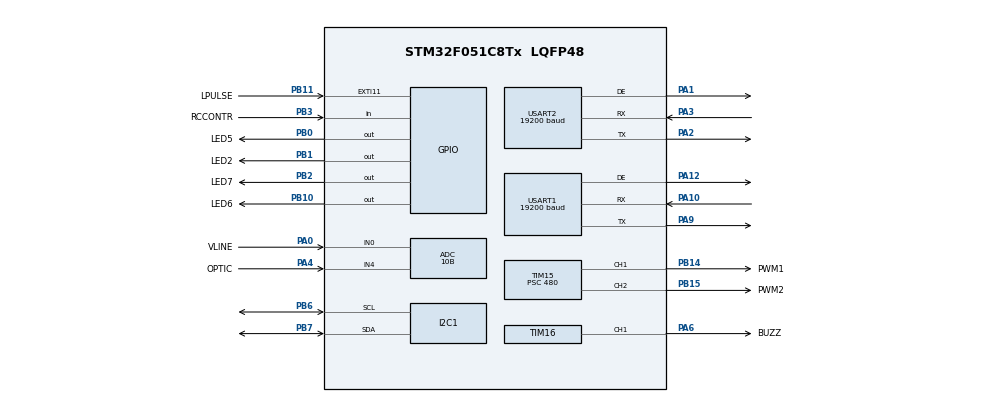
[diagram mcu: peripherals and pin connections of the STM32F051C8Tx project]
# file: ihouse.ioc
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ADC.Resolution=ADC_RESOLUTION_10B
ADC.SamplingTime=ADC_SAMPLETIME_55CYCLES_5
Dma.Request0=USART2_TX
Dma.USART2_TX.0.Direction=DMA_MEMORY_TO_PERIPH
Dma.USART2_TX.0.Instance=DMA1_Channel4
Dma.USART2_TX.0.MemDataAlignment=DMA_MDATAALIGN_BYTE
Dma.USART2_TX.0.MemInc=DMA_MINC_ENABLE
Dma.USART2_TX.0.Mode=DMA_NORMAL
Dma.USART2_TX.0.PeriphDataAlignment=DMA_PDATAALIGN_BYTE
Dma.USART2_TX.0.PeriphInc=DMA_PINC_DISABLE
Dma.USART2_TX.0.Priority=DMA_PRIORITY_LOW
I2C1.Analog_Filter=I2C_ANALOGFILTER_DISABLE
I2C1.Timing=0x00101D2D
Mcu.Family=STM32F0
Mcu.Name=STM32F051C8Tx
Mcu.Package=LQFP48
NVIC.DMA1_Channel4_5_IRQn=true\:0\:0\:false\:false\:true\:false
NVIC.TIM6_DAC_IRQn=true\:0\:0\:false\:false\:true\:true
NVIC.USART1_IRQn=true\:0\:0\:false\:false\:true\:true
NVIC.USART2_IRQn=true\:0\:0\:false\:false\:true\:true
PA0.GPIO_Label=VLINE
PA0.Mode=IN0
PA0.Signal=ADC_IN0
PA1.Mode=Hardware Flow Control (RS485)
PA1.Signal=USART2_DE
PA10.GPIO_PuPd=GPIO_PULLUP
PA10.Mode=Asynchronous
PA10.Signal=USART1_RX
PA12.Mode=Hardware Flow Control (RS485)
PA12.Signal=USART1_DE
PA13.Mode=Serial_Wire
PA13.Signal=SYS_SWDIO
PA14.Mode=Serial_Wire
PA14.Signal=SYS_SWCLK
PA2.Mode=Asynchronous
PA2.Signal=USART2_TX
PA3.GPIO_PuPd=GPIO_PULLUP
PA3.Mode=Asynchronous
PA3.Signal=USART2_RX
PA4.GPIO_Label=OPTIC
PA4.Mode=IN4
PA4.Signal=ADC_IN4
PA6.GPIO_Label=BUZZ
PA6.Signal=S_TIM16_CH1
PA9.Mode=Asynchronous
PA9.Signal=USART1_TX
PB0.GPIO_Label=LED5
PB0.Signal=GPIO_Output
PB1.GPIO_Label=LED2
PB1.Signal=GPIO_Output
PB10.GPIO_Label=LED6
PB10.Signal=GPIO_Output
PB11.GPIO_Label=LPULSE
PB11.Signal=GPXTI11
PB14.GPIO_Label=PWM1
PB14.Signal=S_TIM15_CH1
PB15.GPIO_Label=PWM2
PB15.Signal=S_TIM15_CH2
PB2.GPIO_Label=LED7
PB2.Signal=GPIO_Output
PB3.GPIO_Label=RCCONTR
PB3.Signal=GPIO_Input
PB6.Mode=I2C
PB6.Signal=I2C1_SCL
PB7.Mode=I2C
PB7.Signal=I2C1_SDA
PC14-OSC32_IN.Mode=LSE-External-Oscillator
PC14-OSC32_IN.Signal=RCC_OSC32_IN
PC15-OSC32_OUT.Mode=LSE-External-Oscillator
PC15-OSC32_OUT.Signal=RCC_OSC32_OUT
PF0-OSC_IN.Mode=HSE-External-Oscillator
PF0-OSC_IN.Signal=RCC_OSC_IN
PF1-OSC_OUT.Mode=HSE-External-Oscillator
PF1-OSC_OUT.Signal=RCC_OSC_OUT
ProjectManager.HeapSize=0x200
ProjectManager.StackSize=0x400
ProjectManager.TargetToolchain=Other Toolchains (GPDSC)
RCC.AHBFreq_Value=8000000
RCC.APB1Freq_Value=8000000
RCC.APB1TimFreq_Value=8000000
RCC.FLatency=FLASH_LATENCY_0
RCC.HCLKFreq_Value=8000000
RCC.HSI14CalibrationValue=16
RCC.PLLMUL=RCC_PLL_MUL6
RCC.PLLSourceVirtual=RCC_PLLSOURCE_HSE
RCC.RTCClockSelection=RCC_RTCCLKSOURCE_LSE
RCC.SYSCLKFreq_VALUE=8000000
RCC.SYSCLKSource=RCC_SYSCLKSOURCE_HSE
RTC.Format=RTC_FORMAT_BCD
SH.S_TIM15_CH1.0=TIM15_CH1,PWM Generation1 CH1
SH.S_TIM15_CH2.0=TIM15_CH2,PWM Generation2 CH2
SH.S_TIM16_CH1.0=TIM16_CH1,PWM Generation1 CH1
TIM15.Channel-PWM\ Generation1\ CH1=TIM_CHANNEL_1
TIM15.Channel-PWM\ Generation2\ CH2=TIM_CHANNEL_2
TIM15.Period=100
TIM15.Prescaler=480
TIM15.Pulse-PWM\ Generation1\ CH1=50
TIM15.Pulse-PWM\ Generation2\ CH2=50
TIM16.Channel=TIM_CHANNEL_1
TIM16.Period=100
TIM16.Prescaler=480
TIM16.Pulse=50
TIM6.Period=1000
USART1.BaudRate=19200
USART1.VirtualMode-Asynchronous=VM_ASYNC
USART1.VirtualMode-Hardware\ Flow\ Control\ (RS485)=VM_ASYNC
USART2.BaudRate=19200
USART2.VirtualMode-Asynchronous=VM_ASYNC
USART2.VirtualMode-Hardware\ Flow\ Control\ (RS485)=VM_ASYNC
VP_ADC_TempSens_Input.Mode=IN-TempSens
VP_ADC_Vref_Input.Mode=IN-Vrefint
VP_RTC_VS_RTC_Activate.Mode=RTC_Enabled
VP_RTC_VS_RTC_Calendar.Mode=RTC_Calendar
VP_TIM16_VS_ClockSourceINT.Mode=Enable_Timer
VP_TIM6_VS_ClockSourceINT.Mode=Enable_Timer
VP_TIM6_VS_OPM.Mode=OPM_bit
board=unicon

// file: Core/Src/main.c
/* USER CODE BEGIN Header */
/**
  ******************************************************************************
  * @file           : main.c
  * @brief          : Main program body
  ******************************************************************************
  ** This notice applies to any and all portions of this file
  * that are not between comment pairs USER CODE BEGIN and
  * USER CODE END. Other portions of this file, whether
  * inserted by the user or by software development tools
  * are owned by their respective copyright owners.
  *
  * COPYRIGHT(c) 2019 STMicroelectronics
  *
  * Redistribution and use in source and binary forms, with or without modification,
  * are permitted provided that the following conditions are met:
  *   1. Redistributions of source code must retain the above copyright notice,
  *      this list of conditions and the following disclaimer.
  *   2. Redistributions in binary form must reproduce the above copyright notice,
  *      this list of conditions and the following disclaimer in the documentation
  *      and/or other materials provided with the distribution.
  *   3. Neither the name of STMicroelectronics nor the names of its contributors
  *      may be used to endorse or promote products derived from this software
  *      without specific prior written permission.
  *
  * THIS SOFTWARE IS PROVIDED BY THE COPYRIGHT HOLDERS AND CONTRIBUTORS "AS IS"
  * AND ANY EXPRESS OR IMPLIED WARRANTIES, INCLUDING, BUT NOT LIMITED TO, THE
  * IMPLIED WARRANTIES OF MERCHANTABILITY AND FITNESS FOR A PARTICULAR PURPOSE ARE
  * DISCLAIMED. IN NO EVENT SHALL THE COPYRIGHT HOLDER OR CONTRIBUTORS BE LIABLE
  * FOR ANY DIRECT, INDIRECT, INCIDENTAL, SPECIAL, EXEMPLARY, OR CONSEQUENTIAL
  * DAMAGES (INCLUDING, BUT NOT LIMITED TO, PROCUREMENT OF SUBSTITUTE GOODS OR
  * SERVICES; LOSS OF USE, DATA, OR PROFITS; OR BUSINESS INTERRUPTION) HOWEVER
  * CAUSED AND ON ANY THEORY OF LIABILITY, WHETHER IN CONTRACT, STRICT LIABILITY,
  * OR TORT (INCLUDING NEGLIGENCE OR OTHERWISE) ARISING IN ANY WAY OUT OF THE USE
  * OF THIS SOFTWARE, EVEN IF ADVISED OF THE POSSIBILITY OF SUCH DAMAGE.
  *
  ******************************************************************************
  */
/* USER CODE END Header */

#include "main.h"

/* USER CODE BEGIN Includes */
#include <stdio.h>
#include "unicon.h"
#include "nextion.h"
#include "pcf8574.h"
#include "pcf8523.h"
#include "mcp23017.h"
/* USER CODE END Includes */

/* USER CODE BEGIN PV */

MCP_Output_TypeDef OC1 = {MCP_GPIOB, PIN_4};
MCP_Output_TypeDef OC2 = {MCP_GPIOB, PIN_5};
MCP_Output_TypeDef OC3 = {MCP_GPIOB, PIN_6};
MCP_Output_TypeDef OC4 = {MCP_GPIOB, PIN_7};
MCP_Output_TypeDef OC5 = {MCP_GPIOB, PIN_0};
MCP_Output_TypeDef OC6 = {MCP_GPIOB, PIN_1};
MCP_Output_TypeDef OC7 = {MCP_GPIOB, PIN_2};
MCP_Output_TypeDef OC8 = {MCP_GPIOB, PIN_3};
MCP_Output_TypeDef OC9 = {MCP_GPIOA, PIN_1};
MCP_Output_TypeDef ACON = {MCP_GPIOA, PIN_0};
MCP_Output_TypeDef MA = {MCP_GPIOA, PIN_2};
MCP_Output_TypeDef MB = {MCP_GPIOA, PIN_3};
MCP_Output_TypeDef M1ENA = {MCP_GPIOA, PIN_4};
MCP_Output_TypeDef M2ENA = {MCP_GPIOA, PIN_5};
MCP_Output_TypeDef M3ENA = {MCP_GPIOA, PIN_6};
MCP_Output_TypeDef M4ENA = {MCP_GPIOA, PIN_7};

/* USER CODE END PV */

void SystemClock_Config(void);
static void MX_GPIO_Init(void);
static void MX_DMA_Init(void);
static void MX_I2C1_Init(void);
static void MX_USART1_UART_Init(void);
static void MX_TIM6_Init(void);
static void MX_ADC_Init(void);
static void MX_USART2_UART_Init(void);
static void MX_TIM16_Init(void);
static void MX_TIM15_Init(void);
static void MX_RTC_Init(void);

int main(void)
{
  /* USER CODE BEGIN 1 */

    static volatile uint32_t delay = 0;
    uint8_t i = 0;

#ifdef RELEASE
#warning "Protection is ON. Debug is OFF"
    FLASH_OBProgramInitTypeDef Optbyte;

    HAL_FLASHEx_OBGetConfig(&Optbyte);          // read out RDPLvL

    if(Optbyte.RDPLevel == RESET) {             // Lvl 0 = 0, Lvl 1,2 =1
        Optbyte.OptionType = OPTIONBYTE_RDP;    // select RDP optionbyte
        Optbyte.RDPLevel = OB_RDP_LEVEL_1;      // select RDP level 1

        HAL_FLASH_Unlock();                     // unlock Flash
        HAL_FLASH_OB_Unlock();                  // unlock Optionbytes

        HAL_FLASHEx_OBProgram(&Optbyte);        // set RDP=1

        HAL_FLASH_OB_Launch();                  // write OB to Flash and reset

        HAL_FLASH_OB_Lock();                    // Lock Optionbytes
        HAL_FLASH_Lock();                       // lock Flas
    }
#endif

  /* USER CODE END 1 */

  /* MCU Configuration--------------------------------------------------------*/

  /* Reset of all peripherals, Initializes the Flash interface and the Systick. */

  LL_APB1_GRP2_EnableClock(LL_APB1_GRP2_PERIPH_SYSCFG);
  LL_APB1_GRP1_EnableClock(LL_APB1_GRP1_PERIPH_PWR);

  /* System interrupt init*/

  /* Configure the system clock */
  SystemClock_Config();

  /* USER CODE BEGIN SysInit */
    SysTick_Config(SystemCoreClock/1000);
  /* USER CODE END SysInit */

  /* Initialize all configured peripherals */
  MX_GPIO_Init();
  MX_DMA_Init();
  MX_I2C1_Init();
  MX_USART1_UART_Init();
  MX_TIM6_Init();
  MX_ADC_Init();
  MX_USART2_UART_Init();
  MX_TIM16_Init();
  MX_TIM15_Init();
  MX_RTC_Init();
  /* USER CODE BEGIN 2 */

    LL_mDelay(10);

    UNI_Start();

    PCF8523_Init();
    MCP23017_Init();
    NextionInit();

    //BEEP();
    //LL_mDelay(10);
    //BEEP();
    //LL_mDelay(10);
    //BEEP();

  /* USER CODE END 2 */

  /* Infinite loop */
  /* USER CODE BEGIN WHILE */

#if defined(MODBUS_ENABLE)
    eMBInit( MB_RTU, port_config[SECONDARY_PORT].MbAddr, SECONDARY_PORT, port_config[SECONDARY_PORT].Baudrate, port_config[SECONDARY_PORT].Parity );
    eMBSetSlaveID( 123, TRUE, ucSlaveIdBuf, (MB_FUNC_OTHER_REP_SLAVEID_BUF - 4) );
    eMBEnable();
#endif

    while (1) {

        if(delay <= timestamp) {

            delay = timestamp + 500;

            PCF8523_GetDateTime();

            switch(Nextion.CurrentPageID) {

            case W_MAIN:

                if(TxState == USART_STATE_IDLE){

                    //i = sprintf( ptrPrimaryTxBuffer, "t0.txt=\"%02d.%02d.%02d   %02d:%02d\"", DateTime.year, DateTime.month, DateTime.day, DateTime.hour, DateTime.minute );
                    i = sprintf( ptrSecondaryTxBuffer, "t0.txt=\"MCU:%02d IN0:%1.2fV\"", (int)ADC_InternalRegisters.McuTemp.ConvertedValue, (float)AnalogInputs.ch0.mvolts/1000 );

                    *(ptrSecondaryTxBuffer + i++) = 0xFF;
                    *(ptrSecondaryTxBuffer + i++) = 0xFF;
                    *(ptrSecondaryTxBuffer + i) = 0xFF;

                    //USART_Send( NEXTION_PORT, ptrPrimaryTxBuffer, i+1 );
                    USART_Send_DMA(i+1);

                    TxState = USART_STATE_BUSY;
                }

                break;
            case W_VIRTUVE:

                LED2_ON();

                break;
            case W_KORIDORIUS:

                LED5_ON();

                break;
            case W_VONIAWC:

                LED6_ON();

                break;
            case W_PAPILDOMAI:

                LED7_ON();

                break;
            }

        }

        UNI_Process();

    /* USER CODE END WHILE */

    }
}

void SystemClock_Config(void)
{
  LL_FLASH_SetLatency(LL_FLASH_LATENCY_0);

  if(LL_FLASH_GetLatency() != LL_FLASH_LATENCY_0)
  {
  Error_Handler();
  }
  LL_RCC_HSE_Enable();

   /* Wait till HSE is ready */
  while(LL_RCC_HSE_IsReady() != 1)
  {

  }
  LL_RCC_HSI_Enable();

   /* Wait till HSI is ready */
  while(LL_RCC_HSI_IsReady() != 1)
  {

  }
  LL_RCC_HSI_SetCalibTrimming(16);
  LL_RCC_HSI14_Enable();

   /* Wait till HSI14 is ready */
  while(LL_RCC_HSI14_IsReady() != 1)
  {

  }
  LL_RCC_HSI14_SetCalibTrimming(16);
  LL_PWR_EnableBkUpAccess();
  LL_RCC_ForceBackupDomainReset();
  LL_RCC_ReleaseBackupDomainReset();
  LL_RCC_LSE_SetDriveCapability(LL_RCC_LSEDRIVE_HIGH);
  LL_RCC_LSE_Enable();

   /* Wait till LSE is ready */
  while(LL_RCC_LSE_IsReady() != 1)
  {

  }
  LL_RCC_SetRTCClockSource(LL_RCC_RTC_CLKSOURCE_LSE);
  LL_RCC_EnableRTC();
  LL_RCC_SetAHBPrescaler(LL_RCC_SYSCLK_DIV_1);
  LL_RCC_SetAPB1Prescaler(LL_RCC_APB1_DIV_1);
  LL_RCC_SetSysClkSource(LL_RCC_SYS_CLKSOURCE_HSE);

   /* Wait till System clock is ready */
  while(LL_RCC_GetSysClkSource() != LL_RCC_SYS_CLKSOURCE_STATUS_HSE)
  {

  }
  LL_Init1msTick(8000000);
  LL_SYSTICK_SetClkSource(LL_SYSTICK_CLKSOURCE_HCLK);
  LL_SetSystemCoreClock(8000000);
  LL_RCC_HSI14_EnableADCControl();
  LL_RCC_SetUSARTClockSource(LL_RCC_USART1_CLKSOURCE_PCLK1);
  LL_RCC_SetI2CClockSource(LL_RCC_I2C1_CLKSOURCE_HSI);
}

static void MX_ADC_Init(void)
{

  LL_ADC_InitTypeDef ADC_InitStruct = {0};
  LL_ADC_REG_InitTypeDef ADC_REG_InitStruct = {0};

  LL_GPIO_InitTypeDef GPIO_InitStruct = {0};

  /* Peripheral clock enable */
  LL_APB1_GRP2_EnableClock(LL_APB1_GRP2_PERIPH_ADC1);

  LL_AHB1_GRP1_EnableClock(LL_AHB1_GRP1_PERIPH_GPIOA);
  /**ADC GPIO Configuration
  PA0   ------> ADC_IN0
  PA4   ------> ADC_IN4
  */
  GPIO_InitStruct.Pin = VLINE_Pin;
  GPIO_InitStruct.Mode = LL_GPIO_MODE_ANALOG;
  GPIO_InitStruct.Pull = LL_GPIO_PULL_NO;
  LL_GPIO_Init(VLINE_GPIO_Port, &GPIO_InitStruct);

  GPIO_InitStruct.Pin = OPTIC_Pin;
  GPIO_InitStruct.Mode = LL_GPIO_MODE_ANALOG;
  GPIO_InitStruct.Pull = LL_GPIO_PULL_NO;
  LL_GPIO_Init(OPTIC_GPIO_Port, &GPIO_InitStruct);

  /**Configure Regular Channel
  */
  LL_ADC_REG_SetSequencerChAdd(ADC1, LL_ADC_CHANNEL_0);
  /**Configure Regular Channel
  */
  LL_ADC_REG_SetSequencerChAdd(ADC1, LL_ADC_CHANNEL_4);
  /**Configure Regular Channel
  */
  LL_ADC_REG_SetSequencerChAdd(ADC1, LL_ADC_CHANNEL_TEMPSENSOR);
  LL_ADC_SetCommonPathInternalCh(__LL_ADC_COMMON_INSTANCE(ADC1), LL_ADC_PATH_INTERNAL_TEMPSENSOR);
  /**Configure Regular Channel
  */
  LL_ADC_REG_SetSequencerChAdd(ADC1, LL_ADC_CHANNEL_VREFINT);
  LL_ADC_SetCommonPathInternalCh(__LL_ADC_COMMON_INSTANCE(ADC1), LL_ADC_PATH_INTERNAL_VREFINT);
  /**Configure the global features of the ADC (Clock, Resolution, Data Alignment and number of conversion)
  */
  ADC_InitStruct.Clock = LL_ADC_CLOCK_ASYNC;
  ADC_InitStruct.Resolution = LL_ADC_RESOLUTION_10B;
  ADC_InitStruct.DataAlignment = LL_ADC_DATA_ALIGN_RIGHT;
  ADC_InitStruct.LowPowerMode = LL_ADC_LP_MODE_NONE;
  LL_ADC_Init(ADC1, &ADC_InitStruct);
  ADC_REG_InitStruct.TriggerSource = LL_ADC_REG_TRIG_SOFTWARE;
  ADC_REG_InitStruct.SequencerDiscont = LL_ADC_REG_SEQ_DISCONT_DISABLE;
  ADC_REG_InitStruct.ContinuousMode = LL_ADC_REG_CONV_SINGLE;
  ADC_REG_InitStruct.DMATransfer = LL_ADC_REG_DMA_TRANSFER_LIMITED;
  ADC_REG_InitStruct.Overrun = LL_ADC_REG_OVR_DATA_PRESERVED;
  LL_ADC_REG_Init(ADC1, &ADC_REG_InitStruct);
  LL_ADC_REG_SetSequencerScanDirection(ADC1, LL_ADC_REG_SEQ_SCAN_DIR_FORWARD);
  LL_ADC_SetSamplingTimeCommonChannels(ADC1, LL_ADC_SAMPLINGTIME_55CYCLES_5);
  LL_ADC_DisableIT_EOC(ADC1);
  LL_ADC_DisableIT_EOS(ADC1);

}

static void MX_I2C1_Init(void)
{

  LL_I2C_InitTypeDef I2C_InitStruct = {0};

  LL_GPIO_InitTypeDef GPIO_InitStruct = {0};

  LL_AHB1_GRP1_EnableClock(LL_AHB1_GRP1_PERIPH_GPIOB);
  /**I2C1 GPIO Configuration
  PB6   ------> I2C1_SCL
  PB7   ------> I2C1_SDA
  */
  GPIO_InitStruct.Pin = LL_GPIO_PIN_6;
  GPIO_InitStruct.Mode = LL_GPIO_MODE_ALTERNATE;
  GPIO_InitStruct.Speed = LL_GPIO_SPEED_FREQ_HIGH;
  GPIO_InitStruct.OutputType = LL_GPIO_OUTPUT_OPENDRAIN;
  GPIO_InitStruct.Pull = LL_GPIO_PULL_UP;
  GPIO_InitStruct.Alternate = LL_GPIO_AF_1;
  LL_GPIO_Init(GPIOB, &GPIO_InitStruct);

  GPIO_InitStruct.Pin = LL_GPIO_PIN_7;
  GPIO_InitStruct.Mode = LL_GPIO_MODE_ALTERNATE;
  GPIO_InitStruct.Speed = LL_GPIO_SPEED_FREQ_HIGH;
  GPIO_InitStruct.OutputType = LL_GPIO_OUTPUT_OPENDRAIN;
  GPIO_InitStruct.Pull = LL_GPIO_PULL_UP;
  GPIO_InitStruct.Alternate = LL_GPIO_AF_1;
  LL_GPIO_Init(GPIOB, &GPIO_InitStruct);

  /* Peripheral clock enable */
  LL_APB1_GRP1_EnableClock(LL_APB1_GRP1_PERIPH_I2C1);

  /**I2C Initialization
  */
  LL_I2C_DisableOwnAddress2(I2C1);
  LL_I2C_DisableGeneralCall(I2C1);
  LL_I2C_EnableClockStretching(I2C1);
  I2C_InitStruct.PeripheralMode = LL_I2C_MODE_I2C;
  I2C_InitStruct.Timing = 0x00101D2D;
  I2C_InitStruct.AnalogFilter = LL_I2C_ANALOGFILTER_DISABLE;
  I2C_InitStruct.DigitalFilter = 0;
  I2C_InitStruct.OwnAddress1 = 0;
  I2C_InitStruct.TypeAcknowledge = LL_I2C_ACK;
  I2C_InitStruct.OwnAddrSize = LL_I2C_OWNADDRESS1_7BIT;
  LL_I2C_Init(I2C1, &I2C_InitStruct);
  LL_I2C_EnableAutoEndMode(I2C1);
  LL_I2C_SetOwnAddress2(I2C1, 0, LL_I2C_OWNADDRESS2_NOMASK);

}

static void MX_RTC_Init(void)
{

  LL_RTC_InitTypeDef RTC_InitStruct = {0};
  LL_RTC_TimeTypeDef RTC_TimeStruct = {0};
  LL_RTC_DateTypeDef RTC_DateStruct = {0};

  /* Peripheral clock enable */
  LL_RCC_EnableRTC();

  /**Initialize RTC and set the Time and Date
  */
  RTC_InitStruct.HourFormat = LL_RTC_HOURFORMAT_24HOUR;
  RTC_InitStruct.AsynchPrescaler = 127;
  RTC_InitStruct.SynchPrescaler = 255;
  LL_RTC_Init(RTC, &RTC_InitStruct);
  LL_RTC_SetAsynchPrescaler(RTC, 127);
  LL_RTC_SetSynchPrescaler(RTC, 255);
  /**Initialize RTC and set the Time and Date
  */
  if(LL_RTC_BAK_GetRegister(RTC, LL_RTC_BKP_DR0) != 0x32F2){

  RTC_TimeStruct.Hours = 0;
  RTC_TimeStruct.Minutes = 0;
  RTC_TimeStruct.Seconds = 0;
  LL_RTC_TIME_Init(RTC, LL_RTC_FORMAT_BCD, &RTC_TimeStruct);
  RTC_DateStruct.WeekDay = LL_RTC_WEEKDAY_MONDAY;
  RTC_DateStruct.Month = LL_RTC_MONTH_JANUARY;
  RTC_DateStruct.Year = 0;
  LL_RTC_DATE_Init(RTC, LL_RTC_FORMAT_BCD, &RTC_DateStruct);
    LL_RTC_BAK_SetRegister(RTC,LL_RTC_BKP_DR0,0x32F2);
  }

}

static void MX_TIM6_Init(void)
{

  LL_TIM_InitTypeDef TIM_InitStruct = {0};

  /* Peripheral clock enable */
  LL_APB1_GRP1_EnableClock(LL_APB1_GRP1_PERIPH_TIM6);

  /* TIM6 interrupt Init */
  NVIC_SetPriority(TIM6_DAC_IRQn, 0);
  NVIC_EnableIRQ(TIM6_DAC_IRQn);

  TIM_InitStruct.Prescaler = 0;
  TIM_InitStruct.CounterMode = LL_TIM_COUNTERMODE_UP;
  TIM_InitStruct.Autoreload = 1000;
  LL_TIM_Init(TIM6, &TIM_InitStruct);
  LL_TIM_DisableARRPreload(TIM6);
  LL_TIM_SetOnePulseMode(TIM6, LL_TIM_ONEPULSEMODE_SINGLE);
  LL_TIM_SetTriggerOutput(TIM6, LL_TIM_TRGO_RESET);
  LL_TIM_DisableMasterSlaveMode(TIM6);

}

static void MX_TIM15_Init(void)
{

  LL_TIM_InitTypeDef TIM_InitStruct = {0};
  LL_TIM_OC_InitTypeDef TIM_OC_InitStruct = {0};
  LL_TIM_BDTR_InitTypeDef TIM_BDTRInitStruct = {0};

  LL_GPIO_InitTypeDef GPIO_InitStruct = {0};

  /* Peripheral clock enable */
  LL_APB1_GRP2_EnableClock(LL_APB1_GRP2_PERIPH_TIM15);

  TIM_InitStruct.Prescaler = 480;
  TIM_InitStruct.CounterMode = LL_TIM_COUNTERMODE_UP;
  TIM_InitStruct.Autoreload = 100;
  TIM_InitStruct.ClockDivision = LL_TIM_CLOCKDIVISION_DIV1;
  TIM_InitStruct.RepetitionCounter = 0;
  LL_TIM_Init(TIM15, &TIM_InitStruct);
  LL_TIM_DisableARRPreload(TIM15);
  LL_TIM_OC_EnablePreload(TIM15, LL_TIM_CHANNEL_CH1);
  TIM_OC_InitStruct.OCMode = LL_TIM_OCMODE_PWM1;
  TIM_OC_InitStruct.OCState = LL_TIM_OCSTATE_DISABLE;
  TIM_OC_InitStruct.OCNState = LL_TIM_OCSTATE_DISABLE;
  TIM_OC_InitStruct.CompareValue = 50;
  TIM_OC_InitStruct.OCPolarity = LL_TIM_OCPOLARITY_HIGH;
  TIM_OC_InitStruct.OCNPolarity = LL_TIM_OCPOLARITY_HIGH;
  TIM_OC_InitStruct.OCIdleState = LL_TIM_OCIDLESTATE_LOW;
  TIM_OC_InitStruct.OCNIdleState = LL_TIM_OCIDLESTATE_LOW;
  LL_TIM_OC_Init(TIM15, LL_TIM_CHANNEL_CH1, &TIM_OC_InitStruct);
  LL_TIM_OC_DisableFast(TIM15, LL_TIM_CHANNEL_CH1);
  LL_TIM_OC_EnablePreload(TIM15, LL_TIM_CHANNEL_CH2);
  TIM_OC_InitStruct.OCState = LL_TIM_OCSTATE_DISABLE;
  TIM_OC_InitStruct.OCNState = LL_TIM_OCSTATE_DISABLE;
  LL_TIM_OC_Init(TIM15, LL_TIM_CHANNEL_CH2, &TIM_OC_InitStruct);
  LL_TIM_OC_DisableFast(TIM15, LL_TIM_CHANNEL_CH2);
  LL_TIM_SetTriggerOutput(TIM15, LL_TIM_TRGO_RESET);
  LL_TIM_DisableMasterSlaveMode(TIM15);
  TIM_BDTRInitStruct.OSSRState = LL_TIM_OSSR_DISABLE;
  TIM_BDTRInitStruct.OSSIState = LL_TIM_OSSI_DISABLE;
  TIM_BDTRInitStruct.LockLevel = LL_TIM_LOCKLEVEL_OFF;
  TIM_BDTRInitStruct.DeadTime = 0;
  TIM_BDTRInitStruct.BreakState = LL_TIM_BREAK_DISABLE;
  TIM_BDTRInitStruct.BreakPolarity = LL_TIM_BREAK_POLARITY_HIGH;
  TIM_BDTRInitStruct.AutomaticOutput = LL_TIM_AUTOMATICOUTPUT_DISABLE;
  LL_TIM_BDTR_Init(TIM15, &TIM_BDTRInitStruct);
  LL_AHB1_GRP1_EnableClock(LL_AHB1_GRP1_PERIPH_GPIOB);
  /**TIM15 GPIO Configuration
  PB14   ------> TIM15_CH1
  PB15   ------> TIM15_CH2
  */
  GPIO_InitStruct.Pin = PWM1_Pin;
  GPIO_InitStruct.Mode = LL_GPIO_MODE_ALTERNATE;
  GPIO_InitStruct.Speed = LL_GPIO_SPEED_FREQ_LOW;
  GPIO_InitStruct.OutputType = LL_GPIO_OUTPUT_PUSHPULL;
  GPIO_InitStruct.Pull = LL_GPIO_PULL_NO;
  GPIO_InitStruct.Alternate = LL_GPIO_AF_1;
  LL_GPIO_Init(PWM1_GPIO_Port, &GPIO_InitStruct);

  GPIO_InitStruct.Pin = PWM2_Pin;
  GPIO_InitStruct.Mode = LL_GPIO_MODE_ALTERNATE;
  GPIO_InitStruct.Speed = LL_GPIO_SPEED_FREQ_LOW;
  GPIO_InitStruct.OutputType = LL_GPIO_OUTPUT_PUSHPULL;
  GPIO_InitStruct.Pull = LL_GPIO_PULL_NO;
  GPIO_InitStruct.Alternate = LL_GPIO_AF_1;
  LL_GPIO_Init(PWM2_GPIO_Port, &GPIO_InitStruct);

}

static void MX_TIM16_Init(void)
{

  LL_TIM_InitTypeDef TIM_InitStruct = {0};
  LL_TIM_OC_InitTypeDef TIM_OC_InitStruct = {0};
  LL_TIM_BDTR_InitTypeDef TIM_BDTRInitStruct = {0};

  LL_GPIO_InitTypeDef GPIO_InitStruct = {0};

  /* Peripheral clock enable */
  LL_APB1_GRP2_EnableClock(LL_APB1_GRP2_PERIPH_TIM16);

  TIM_InitStruct.Prescaler = 480;
  TIM_InitStruct.CounterMode = LL_TIM_COUNTERMODE_UP;
  TIM_InitStruct.Autoreload = 100;
  TIM_InitStruct.ClockDivision = LL_TIM_CLOCKDIVISION_DIV1;
  TIM_InitStruct.RepetitionCounter = 0;
  LL_TIM_Init(TIM16, &TIM_InitStruct);
  LL_TIM_DisableARRPreload(TIM16);
  LL_TIM_OC_EnablePreload(TIM16, LL_TIM_CHANNEL_CH1);
  TIM_OC_InitStruct.OCMode = LL_TIM_OCMODE_PWM1;
  TIM_OC_InitStruct.OCState = LL_TIM_OCSTATE_DISABLE;
  TIM_OC_InitStruct.OCNState = LL_TIM_OCSTATE_DISABLE;
  TIM_OC_InitStruct.CompareValue = 50;
  TIM_OC_InitStruct.OCPolarity = LL_TIM_OCPOLARITY_HIGH;
  TIM_OC_InitStruct.OCNPolarity = LL_TIM_OCPOLARITY_HIGH;
  TIM_OC_InitStruct.OCIdleState = LL_TIM_OCIDLESTATE_LOW;
  TIM_OC_InitStruct.OCNIdleState = LL_TIM_OCIDLESTATE_LOW;
  LL_TIM_OC_Init(TIM16, LL_TIM_CHANNEL_CH1, &TIM_OC_InitStruct);
  LL_TIM_OC_DisableFast(TIM16, LL_TIM_CHANNEL_CH1);
  TIM_BDTRInitStruct.OSSRState = LL_TIM_OSSR_DISABLE;
  TIM_BDTRInitStruct.OSSIState = LL_TIM_OSSI_DISABLE;
  TIM_BDTRInitStruct.LockLevel = LL_TIM_LOCKLEVEL_OFF;
  TIM_BDTRInitStruct.DeadTime = 0;
  TIM_BDTRInitStruct.BreakState = LL_TIM_BREAK_DISABLE;
  TIM_BDTRInitStruct.BreakPolarity = LL_TIM_BREAK_POLARITY_HIGH;
  TIM_BDTRInitStruct.AutomaticOutput = LL_TIM_AUTOMATICOUTPUT_DISABLE;
  LL_TIM_BDTR_Init(TIM16, &TIM_BDTRInitStruct);
  LL_AHB1_GRP1_EnableClock(LL_AHB1_GRP1_PERIPH_GPIOA);
  /**TIM16 GPIO Configuration
  PA6   ------> TIM16_CH1
  */
  GPIO_InitStruct.Pin = BUZZ_Pin;
  GPIO_InitStruct.Mode = LL_GPIO_MODE_ALTERNATE;
  GPIO_InitStruct.Speed = LL_GPIO_SPEED_FREQ_LOW;
  GPIO_InitStruct.OutputType = LL_GPIO_OUTPUT_PUSHPULL;
  GPIO_InitStruct.Pull = LL_GPIO_PULL_NO;
  GPIO_InitStruct.Alternate = LL_GPIO_AF_5;
  LL_GPIO_Init(BUZZ_GPIO_Port, &GPIO_InitStruct);

}

static void MX_USART1_UART_Init(void)
{

  LL_USART_InitTypeDef USART_InitStruct = {0};

  LL_GPIO_InitTypeDef GPIO_InitStruct = {0};

  /* Peripheral clock enable */
  LL_APB1_GRP2_EnableClock(LL_APB1_GRP2_PERIPH_USART1);

  LL_AHB1_GRP1_EnableClock(LL_AHB1_GRP1_PERIPH_GPIOA);
  /**USART1 GPIO Configuration
  PA9   ------> USART1_TX
  PA10   ------> USART1_RX
  PA12   ------> USART1_DE
  */
  GPIO_InitStruct.Pin = LL_GPIO_PIN_9;
  GPIO_InitStruct.Mode = LL_GPIO_MODE_ALTERNATE;
  GPIO_InitStruct.Speed = LL_GPIO_SPEED_FREQ_HIGH;
  GPIO_InitStruct.OutputType = LL_GPIO_OUTPUT_PUSHPULL;
  GPIO_InitStruct.Pull = LL_GPIO_PULL_NO;
  GPIO_InitStruct.Alternate = LL_GPIO_AF_1;
  LL_GPIO_Init(GPIOA, &GPIO_InitStruct);

  GPIO_InitStruct.Pin = LL_GPIO_PIN_10;
  GPIO_InitStruct.Mode = LL_GPIO_MODE_ALTERNATE;
  GPIO_InitStruct.Speed = LL_GPIO_SPEED_FREQ_HIGH;
  GPIO_InitStruct.OutputType = LL_GPIO_OUTPUT_PUSHPULL;
  GPIO_InitStruct.Pull = LL_GPIO_PULL_UP;
  GPIO_InitStruct.Alternate = LL_GPIO_AF_1;
  LL_GPIO_Init(GPIOA, &GPIO_InitStruct);

  GPIO_InitStruct.Pin = LL_GPIO_PIN_12;
  GPIO_InitStruct.Mode = LL_GPIO_MODE_ALTERNATE;
  GPIO_InitStruct.Speed = LL_GPIO_SPEED_FREQ_HIGH;
  GPIO_InitStruct.OutputType = LL_GPIO_OUTPUT_PUSHPULL;
  GPIO_InitStruct.Pull = LL_GPIO_PULL_NO;
  GPIO_InitStruct.Alternate = LL_GPIO_AF_1;
  LL_GPIO_Init(GPIOA, &GPIO_InitStruct);

  /* USART1 interrupt Init */
  NVIC_SetPriority(USART1_IRQn, 0);
  NVIC_EnableIRQ(USART1_IRQn);

  USART_InitStruct.BaudRate = 19200;
  USART_InitStruct.DataWidth = LL_USART_DATAWIDTH_8B;
  USART_InitStruct.StopBits = LL_USART_STOPBITS_1;
  USART_InitStruct.Parity = LL_USART_PARITY_NONE;
  USART_InitStruct.TransferDirection = LL_USART_DIRECTION_TX_RX;
  USART_InitStruct.HardwareFlowControl = LL_USART_HWCONTROL_NONE;
  USART_InitStruct.OverSampling = LL_USART_OVERSAMPLING_16;
  LL_USART_Init(USART1, &USART_InitStruct);
  LL_USART_EnableDEMode(USART1);
  LL_USART_SetDESignalPolarity(USART1, LL_USART_DE_POLARITY_HIGH);
  LL_USART_SetDEAssertionTime(USART1, 0);
  LL_USART_SetDEDeassertionTime(USART1, 0);
  LL_USART_DisableOverrunDetect(USART1);
  LL_USART_ConfigAsyncMode(USART1);
  LL_USART_Enable(USART1);

}

static void MX_USART2_UART_Init(void)
{

  LL_USART_InitTypeDef USART_InitStruct = {0};

  LL_GPIO_InitTypeDef GPIO_InitStruct = {0};

  /* Peripheral clock enable */
  LL_APB1_GRP1_EnableClock(LL_APB1_GRP1_PERIPH_USART2);

  LL_AHB1_GRP1_EnableClock(LL_AHB1_GRP1_PERIPH_GPIOA);
  /**USART2 GPIO Configuration
  PA1   ------> USART2_DE
  PA2   ------> USART2_TX
  PA3   ------> USART2_RX
  */
  GPIO_InitStruct.Pin = LL_GPIO_PIN_1;
  GPIO_InitStruct.Mode = LL_GPIO_MODE_ALTERNATE;
  GPIO_InitStruct.Speed = LL_GPIO_SPEED_FREQ_HIGH;
  GPIO_InitStruct.OutputType = LL_GPIO_OUTPUT_PUSHPULL;
  GPIO_InitStruct.Pull = LL_GPIO_PULL_NO;
  GPIO_InitStruct.Alternate = LL_GPIO_AF_1;
  LL_GPIO_Init(GPIOA, &GPIO_InitStruct);

  GPIO_InitStruct.Pin = LL_GPIO_PIN_2;
  GPIO_InitStruct.Mode = LL_GPIO_MODE_ALTERNATE;
  GPIO_InitStruct.Speed = LL_GPIO_SPEED_FREQ_HIGH;
  GPIO_InitStruct.OutputType = LL_GPIO_OUTPUT_PUSHPULL;
  GPIO_InitStruct.Pull = LL_GPIO_PULL_NO;
  GPIO_InitStruct.Alternate = LL_GPIO_AF_1;
  LL_GPIO_Init(GPIOA, &GPIO_InitStruct);

  GPIO_InitStruct.Pin = LL_GPIO_PIN_3;
  GPIO_InitStruct.Mode = LL_GPIO_MODE_ALTERNATE;
  GPIO_InitStruct.Speed = LL_GPIO_SPEED_FREQ_HIGH;
  GPIO_InitStruct.OutputType = LL_GPIO_OUTPUT_PUSHPULL;
  GPIO_InitStruct.Pull = LL_GPIO_PULL_UP;
  GPIO_InitStruct.Alternate = LL_GPIO_AF_1;
  LL_GPIO_Init(GPIOA, &GPIO_InitStruct);

  /* USART2 DMA Init */

  /* USART2_TX Init */
  LL_DMA_SetDataTransferDirection(DMA1, LL_DMA_CHANNEL_4, LL_DMA_DIRECTION_MEMORY_TO_PERIPH);

  LL_DMA_SetChannelPriorityLevel(DMA1, LL_DMA_CHANNEL_4, LL_DMA_PRIORITY_LOW);

  LL_DMA_SetMode(DMA1, LL_DMA_CHANNEL_4, LL_DMA_MODE_NORMAL);

  LL_DMA_SetPeriphIncMode(DMA1, LL_DMA_CHANNEL_4, LL_DMA_PERIPH_NOINCREMENT);

  LL_DMA_SetMemoryIncMode(DMA1, LL_DMA_CHANNEL_4, LL_DMA_MEMORY_INCREMENT);

  LL_DMA_SetPeriphSize(DMA1, LL_DMA_CHANNEL_4, LL_DMA_PDATAALIGN_BYTE);

  LL_DMA_SetMemorySize(DMA1, LL_DMA_CHANNEL_4, LL_DMA_MDATAALIGN_BYTE);

  /* USART2 interrupt Init */
  NVIC_SetPriority(USART2_IRQn, 0);
  NVIC_EnableIRQ(USART2_IRQn);

  USART_InitStruct.BaudRate = 19200;
  USART_InitStruct.DataWidth = LL_USART_DATAWIDTH_8B;
  USART_InitStruct.StopBits = LL_USART_STOPBITS_1;
  USART_InitStruct.Parity = LL_USART_PARITY_NONE;
  USART_InitStruct.TransferDirection = LL_USART_DIRECTION_TX_RX;
  USART_InitStruct.HardwareFlowControl = LL_USART_HWCONTROL_NONE;
  USART_InitStruct.OverSampling = LL_USART_OVERSAMPLING_16;
  LL_USART_Init(USART2, &USART_InitStruct);
  LL_USART_EnableDEMode(USART2);
  LL_USART_SetDESignalPolarity(USART2, LL_USART_DE_POLARITY_HIGH);
  LL_USART_SetDEAssertionTime(USART2, 0);
  LL_USART_SetDEDeassertionTime(USART2, 0);
  LL_USART_DisableOverrunDetect(USART2);
  LL_USART_ConfigAsyncMode(USART2);
  LL_USART_Enable(USART2);

}

static void MX_DMA_Init(void)
{
  /* Init with LL driver */
  /* DMA controller clock enable */
  LL_AHB1_GRP1_EnableClock(LL_AHB1_GRP1_PERIPH_DMA1);

  /* DMA interrupt init */
  /* DMA1_Channel4_5_IRQn interrupt configuration */
  NVIC_SetPriority(DMA1_Channel4_5_IRQn, 0);
  NVIC_EnableIRQ(DMA1_Channel4_5_IRQn);

}

static void MX_GPIO_Init(void)
{
  LL_GPIO_InitTypeDef GPIO_InitStruct = {0};
  LL_EXTI_InitTypeDef EXTI_InitStruct = {0};

  /* GPIO Ports Clock Enable */
  LL_AHB1_GRP1_EnableClock(LL_AHB1_GRP1_PERIPH_GPIOC);
  LL_AHB1_GRP1_EnableClock(LL_AHB1_GRP1_PERIPH_GPIOF);
  LL_AHB1_GRP1_EnableClock(LL_AHB1_GRP1_PERIPH_GPIOA);
  LL_AHB1_GRP1_EnableClock(LL_AHB1_GRP1_PERIPH_GPIOB);

  /**/
  LL_GPIO_ResetOutputPin(LED5_GPIO_Port, LED5_Pin);

  /**/
  LL_GPIO_ResetOutputPin(LED2_GPIO_Port, LED2_Pin);

  /**/
  LL_GPIO_ResetOutputPin(LED7_GPIO_Port, LED7_Pin);

  /**/
  LL_GPIO_ResetOutputPin(LED6_GPIO_Port, LED6_Pin);

  /**/
  GPIO_InitStruct.Pin = LED5_Pin;
  GPIO_InitStruct.Mode = LL_GPIO_MODE_OUTPUT;
  GPIO_InitStruct.Speed = LL_GPIO_SPEED_FREQ_LOW;
  GPIO_InitStruct.OutputType = LL_GPIO_OUTPUT_PUSHPULL;
  GPIO_InitStruct.Pull = LL_GPIO_PULL_NO;
  LL_GPIO_Init(LED5_GPIO_Port, &GPIO_InitStruct);

  /**/
  GPIO_InitStruct.Pin = LED2_Pin;
  GPIO_InitStruct.Mode = LL_GPIO_MODE_OUTPUT;
  GPIO_InitStruct.Speed = LL_GPIO_SPEED_FREQ_LOW;
  GPIO_InitStruct.OutputType = LL_GPIO_OUTPUT_PUSHPULL;
  GPIO_InitStruct.Pull = LL_GPIO_PULL_NO;
  LL_GPIO_Init(LED2_GPIO_Port, &GPIO_InitStruct);

  /**/
  GPIO_InitStruct.Pin = LED7_Pin;
  GPIO_InitStruct.Mode = LL_GPIO_MODE_OUTPUT;
  GPIO_InitStruct.Speed = LL_GPIO_SPEED_FREQ_LOW;
  GPIO_InitStruct.OutputType = LL_GPIO_OUTPUT_PUSHPULL;
  GPIO_InitStruct.Pull = LL_GPIO_PULL_NO;
  LL_GPIO_Init(LED7_GPIO_Port, &GPIO_InitStruct);

  /**/
  GPIO_InitStruct.Pin = LED6_Pin;
  GPIO_InitStruct.Mode = LL_GPIO_MODE_OUTPUT;
  GPIO_InitStruct.Speed = LL_GPIO_SPEED_FREQ_LOW;
  GPIO_InitStruct.OutputType = LL_GPIO_OUTPUT_PUSHPULL;
  GPIO_InitStruct.Pull = LL_GPIO_PULL_NO;
  LL_GPIO_Init(LED6_GPIO_Port, &GPIO_InitStruct);

  /**/
  GPIO_InitStruct.Pin = RCCONTR_Pin;
  GPIO_InitStruct.Mode = LL_GPIO_MODE_INPUT;
  GPIO_InitStruct.Pull = LL_GPIO_PULL_NO;
  LL_GPIO_Init(RCCONTR_GPIO_Port, &GPIO_InitStruct);

  /**/
  LL_SYSCFG_SetEXTISource(LL_SYSCFG_EXTI_PORTB, LL_SYSCFG_EXTI_LINE11);

  /**/
  LL_GPIO_SetPinPull(LPULSE_GPIO_Port, LPULSE_Pin, LL_GPIO_PULL_NO);

  /**/
  LL_GPIO_SetPinMode(LPULSE_GPIO_Port, LPULSE_Pin, LL_GPIO_MODE_INPUT);

  /**/
  EXTI_InitStruct.Line_0_31 = LL_EXTI_LINE_11;
  EXTI_InitStruct.LineCommand = ENABLE;
  EXTI_InitStruct.Mode = LL_EXTI_MODE_IT;
  EXTI_InitStruct.Trigger = LL_EXTI_TRIGGER_RISING;
  LL_EXTI_Init(&EXTI_InitStruct);

}

void Error_Handler(void)
{
}

/************************ (C) COPYRIGHT STMicroelectronics *****END OF FILE****/
